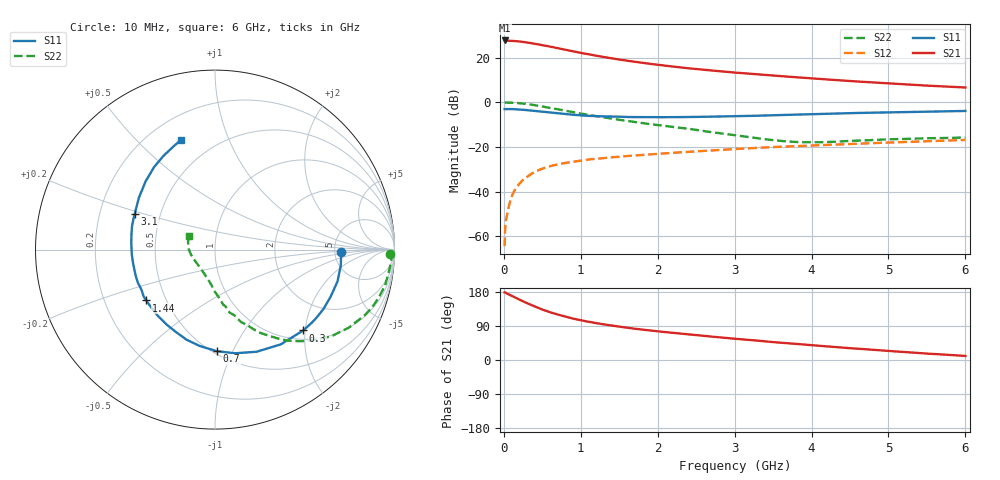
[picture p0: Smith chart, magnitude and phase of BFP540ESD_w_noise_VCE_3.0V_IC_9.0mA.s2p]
! Infineon Technologies  Discrete & RF Semiconductors
! BFP540ESD
! VCE =  3.0 V,  IC =  9.0 mA
! Common Emitter S-Parameters:  Nov 2015
# GHz  S  MA  R  50
!  f  S11  S21  S12  S22
! GHz  MAG  ANG  MAG  ANG  MAG  ANG  MAG  ANG
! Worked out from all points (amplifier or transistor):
!   210 points, 10 MHz to 6 GHz, reference 50 ohm
!   highest |S21| = 27.7 dB at 10 MHz (marker M1)
!   |S21| within 3 dB of that: start of sweep to 635.3 MHz
!   unconditionally stable (mu >= 1): start of sweep to 10.75 MHz; 2.835 GHz to end of sweep
!   at 185 MHz: K = 0.09, MSG = 32.2 dB, |S12| = -37.2 dB
!   at 1.52 GHz: K = 0.69, MSG = 21.7 dB, |S12| = -24.3 dB
!   at 6 GHz: K = 1.16, MAG = 9.3 dB, |S12| = -16.9 dB
!   lowest NFmin = 0.83 dB at 900 MHz
!   S11 on the Smith chart (normalised r, x): 10 MHz: 5.70, -0.33; 300 MHz: 1.20, -1.95; 700 MHz: 0.52, -0.87; 1.44 GHz: 0.39, -0.28; 3.1 GHz: 0.36, +0.19; 6 GHz: 0.33, +0.68
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0.01  0.7024 -1.2  24.16 178.4  0.0006 66.9  0.9734 -1.4
0.03  0.704 -4.4  23.88 176.8  0.0024 83.6  0.9844 -2.3
0.1  0.7053 -14.6  23.7 169.5  0.0076 81.8  0.976 -8.1
0.15  0.6965 -21.7  23.43 164.5  0.0114 80.3  0.9675 -12.1
0.2  0.689 -28.8  22.95 159.5  0.0148 79.1  0.9519 -16.0
0.3  0.6668 -42.5  21.87 150.0  0.0213 72.5  0.9117 -23.6
0.4  0.6425 -55.3  20.49 141.2  0.0276 67.7  0.862 -30.4
0.5  0.6144 -67.9  19.15 133.1  0.0326 63.2  0.8068 -36.8
0.6  0.5885 -79.0  17.59 126.0  0.037 59.1  0.7508 -42.1
0.7  0.5659 -89.0  16.28 120.0  0.0407 55.9  0.6982 -47.0
0.8  0.5436 -99.0  14.97 114.2  0.0438 54.0  0.6466 -51.6
0.9  0.5267 -107.4  13.79 109.2  0.0466 52.5  0.601 -55.2
1.02  0.5058 -116.5  12.55 104.1  0.0498 49.7  0.5508 -59.3
1.2  0.4891 -129.6  10.99 97.2  0.0543 47.5  0.488 -64.6
1.44  0.4762 -143.5  9.388 89.7  0.0592 45.1  0.4193 -70.9
1.7  0.4677 -156.9  8.049 82.5  0.0641 43.2  0.3611 -76.8
2.02  0.4628 -170.0  6.834 75.2  0.0702 41.7  0.3064 -81.8
2.58  0.4718 170.8  5.366 63.9  0.0811 39.1  0.2282 -91.6
3.1  0.4897 155.9  4.481 54.5  0.0914 36.6  0.173 -102.4
4.1  0.5472 133.5  3.329 37.5  0.1093 30.3  0.1272 -150.0
5.1  0.5997 117.5  2.585 22.5  0.1269 23.5  0.1494 174.2
6  0.638 107.5  2.139 10.7  0.1433 18.4  0.1622 151.3
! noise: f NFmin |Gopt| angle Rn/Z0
0.9  0.83  0.08  -128  0.11
1.8  1.03  0.14  -161  0.1
2.4  1.04  0.14  -156  0.1
3  1.16  0.21  -156  0.1
4  1.29  0.34  -115  0.15
5  1.48  0.45  -92  0.27
6  1.72  0.53  -95  0.5
